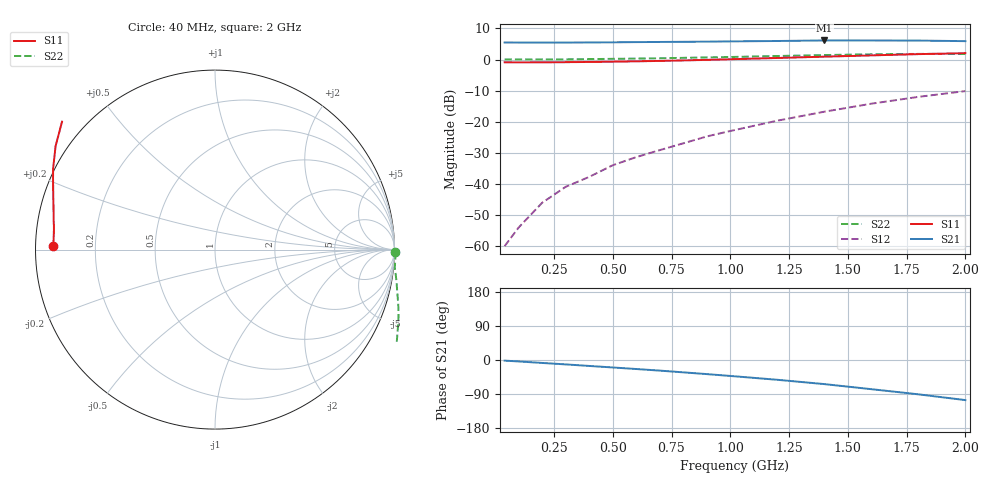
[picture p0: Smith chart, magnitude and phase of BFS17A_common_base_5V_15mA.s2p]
! Filename:  BFS17ACD.S2P  Version:  2.0
! Philips part #: BFS17A  Date: Jul 1990
! Bias condition: Vce=5V, Ic=15mA
! COMMON BASE
#  MHz  S  MA  R  50
! Freq  S11  S21  S12  S22
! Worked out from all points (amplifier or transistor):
!   16 points, 40 MHz to 2 GHz, reference 50 ohm
!   highest |S21| = 6.1 dB at 1.4 GHz (marker M1)
!   |S21| within 3 dB of that: start of sweep to end of sweep
!   unconditionally stable (mu >= 1): nowhere
!   at 200 MHz: K = -0.54, MSG = 25.7 dB, |S12| = -46.0 dB
!   at 800 MHz: K = -0.86, MSG = 16.3 dB, |S12| = -26.9 dB
!   at 2 GHz: K = -0.60, MSG = 8.0 dB, |S12| = -10.1 dB
40  0.902 178.9  1.877 -1.7  0.001 79.4  1.004 -0.9
100  0.901 177.3  1.875 -3.8  0.002 91.4  1.006 -1.7
200  0.902 174.7  1.874 -7.8  0.005 116.5  1.006 -3.9
300  0.906 172.1  1.873 -11.6  0.009 124.9  1.007 -5.8
400  0.914 169.6  1.881 -15.7  0.013 133.1  1.016 -7.8
500  0.923 167.0  1.89 -19.7  0.02 136.0  1.026 -9.8
600  0.935 164.3  1.905 -23.8  0.027 138.4  1.036 -11.9
700  0.95 161.6  1.915 -28.0  0.035 140.5  1.048 -14.0
800  0.967 158.8  1.926 -32.6  0.045 141.5  1.064 -16.4
900  0.987 156.1  1.937 -37.2  0.058 141.8  1.081 -18.9
1000  1.01 153.2  1.957 -42.1  0.071 141.8  1.098 -21.5
1200  1.059 147.0  1.985 -52.2  0.104 140.0  1.139 -27.3
1400  1.111 140.1  2.025 -63.6  0.145 136.3  1.18 -33.9
1600  1.165 132.1  2.024 -77.0  0.195 131.7  1.214 -41.6
1800  1.221 123.3  2.015 -90.6  0.251 125.1  1.232 -50.4
2000  1.265 114.5  1.974 -105.8  0.311 117.8  1.227 -60.7
